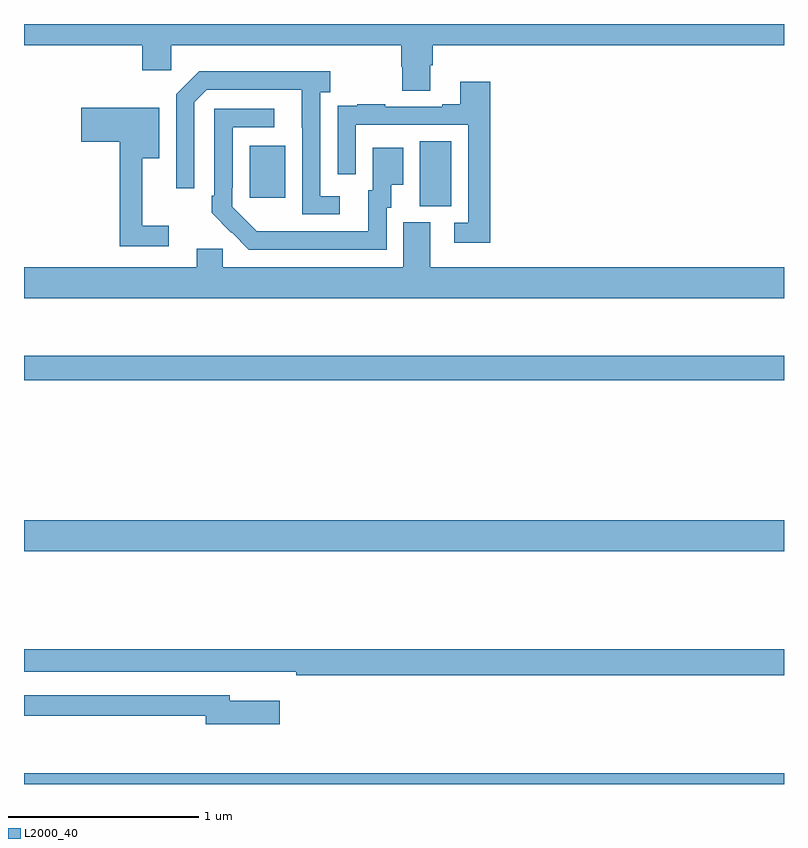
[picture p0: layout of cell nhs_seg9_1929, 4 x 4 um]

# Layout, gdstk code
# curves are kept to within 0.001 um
import gdstk
lib = gdstk.Library(unit=1e-6, precision=1e-09)
def R(c, l, rs):  # rectangles x0, y0, x1, y1
    for r in rs: c.add(gdstk.rectangle(r[:2], r[2:], *l))
def P(c, l, *ps):  # polygons
    for p in ps: c.add(gdstk.Polygon(p, *l))
L2000_40 = (2000, 40)

nhs_seg9_1929 = lib.new_cell('nhs_seg9_1929')
R(nhs_seg9_1929, L2000_40, [(219,1224.5,223,1224.556), (219,1225.724,223,1225.888), (219,1226.626,223,1226.755), (221.084,1227.541,221.248,1227.884), (220.187,1227.585,220.375,1227.859)])
P(nhs_seg9_1929, L2000_40, [(221.137,1228.282),(221.15,1228.282),(221.15,1228.388),(223,1228.388),(223,1228.5),(219,1228.5),(219,1228.388),(219.623,1228.388),(219.623,1228.257),(219.774,1228.257),(219.774,1228.388),(220.985,1228.388),(220.985,1228.275),(220.99,1228.275),(220.99,1228.15),(221.137,1228.15)],
  [(220.663,1227.594),(220.56,1227.594),(220.56,1228.142),(220.612,1228.142),(220.612,1228.252),(219.922,1228.252),(219.801,1228.131),(219.801,1227.636),(219.897,1227.636),(219.897,1228.089),(219.963,1228.155),(220.463,1228.155),(220.464,1227.498),(220.663,1227.498)],
  [(221.453,1228.195),(221.297,1228.195),(221.297,1228.078),(221.201,1228.078),(221.201,1228.065),(220.901,1228.065),(220.901,1228.078),(220.753,1228.078),(220.753,1228.071),(220.651,1228.071),(220.651,1227.962),(220.65,1227.962),(220.65,1227.708),(220.746,1227.708),(220.746,1227.969),(221.337,1227.969),(221.337,1227.453),(221.265,1227.453),(221.265,1227.348),(221.453,1227.348)],
  [(219.763,1227.439),(219.623,1227.439),(219.623,1227.794),(219.712,1227.794),(219.712,1228.059),(219.3,1228.059),(219.3,1227.881),(219.505,1227.881),(219.505,1227.33),(219.763,1227.33)],
  [(220.908,1227.534),(220.933,1227.534),(220.933,1227.653),(220.996,1227.653),(220.996,1227.85),(220.835,1227.85),(220.835,1227.624),(220.811,1227.624),(220.811,1227.408),(220.224,1227.409),(220.095,1227.537),(220.095,1227.637),(220.098,1227.637),(220.098,1227.957),(220.318,1227.957),(220.318,1228.053),(220.002,1228.053),(220.002,1227.595),(219.987,1227.595),(219.987,1227.507),(220.184,1227.312),(220.908,1227.312)],
  [(223,1227.22),(221.137,1227.22),(221.137,1227.456),(220.997,1227.456),(220.997,1227.22),(220.047,1227.22),(220.047,1227.318),(219.908,1227.318),(219.908,1227.22),(219,1227.22),(219,1227.056),(223,1227.056)],
  [(223,1225.208),(219,1225.208),(219,1225.092),(220.18,1225.092),(220.18,1225.091),(220.432,1225.091),(220.432,1225.072),(223,1225.072)],
  [(220.345,1224.937),(220.084,1224.937),(220.084,1224.966),(219,1224.966),(219,1224.858),(219.956,1224.858),(219.956,1224.815),(220.345,1224.815)])

lib.write_gds('nhs_seg9_1929.gds')
